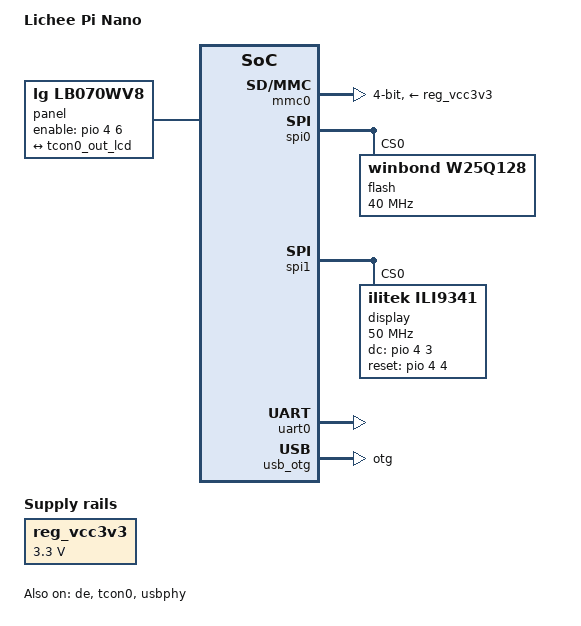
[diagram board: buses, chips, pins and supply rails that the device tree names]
// SPDX-License-Identifier: (GPL-2.0+ OR X11)
/*
 * Copyright 2018 Icenowy Zheng <icenowy@aosc.io>
 */

/dts-v1/;
#include "suniv-f1c100s.dtsi"

#include <dt-bindings/gpio/gpio.h>

/ {
	model = "Lichee Pi Nano";
	compatible = "licheepi,licheepi-nano", "allwinner,suniv-f1c100s",
		     "allwinner,suniv";

	aliases {
		serial0 = &uart0;
		spi0 = &spi0;
		spi1 = &spi1;
	};

	chosen {
		stdout-path = "serial0:115200n8";
	};

	panel: panel {
		compatible = "lg,lb070wv8", "simple-panel";
		#address-cells = <1>;
		#size-cells = <0>;
		enable-gpios = <&pio 4 6 GPIO_ACTIVE_HIGH>;

		port@0 {
			reg = <0>;
			#address-cells = <1>;
			#size-cells = <0>;

			panel_input: endpoint@0 {
				reg = <0>;
				remote-endpoint = <&tcon0_out_lcd>;
			};
		};
	};

	reg_vcc3v3: vcc3v3 {
		compatible = "regulator-fixed";
		regulator-name = "vcc3v3";
		regulator-min-microvolt = <3300000>;
		regulator-max-microvolt = <3300000>;
	};
};

&de {
	status = "okay";
};

&mmc0 {
	vmmc-supply = <&reg_vcc3v3>;
	bus-width = <4>;
	broken-cd;
	status = "okay";
};

&otg_sram {
	status = "okay";
};

&spi0 {
	pinctrl-names = "default";
	pinctrl-0 = <&spi0_pins_a>;
	status = "okay";

	flash@0 {
		#address-cells = <1>;
		#size-cells = <1>;
		compatible = "winbond,w25q128", "jedec,spi-nor";
		reg = <0>;
		spi-max-frequency = <40000000>;
	};
};

&spi1 {
	pinctrl-names = "default";
	pinctrl-0 = <&spi1_pins_a>;
	status = "okay";
	display@0{
		compatible = "ilitek,ili9341";
		reg = <0>;
		fps = <50>;
		rotate = <270>;
		buswidth = <8>;
		bgr;
		spi-max-frequency = <50000000>;
		dc-gpios = <&pio 4 3 GPIO_ACTIVE_HIGH>;
		reset-gpios = <&pio 4 4 GPIO_ACTIVE_HIGH>;
		debug = <0>;
	};
};

&tcon0 {
	pinctrl-names = "default";
	pinctrl-0 = <&lcd_rgb666_pins>;
	status = "okay";
};

&tcon0_out {
	tcon0_out_lcd: endpoint@0 {
		reg = <0>;
		remote-endpoint = <&panel_input>;
	};
};

&uart0 {
	pinctrl-names = "default";
	pinctrl-0 = <&uart0_pins_a>;
	status = "okay";
};

&usb_otg {
	dr_mode = "otg";
	status = "okay";
};

&usbphy {
	usb0_id_det-gpio = <&pio 4 2 GPIO_ACTIVE_HIGH>; /* PE2 */
	status = "okay";
};
